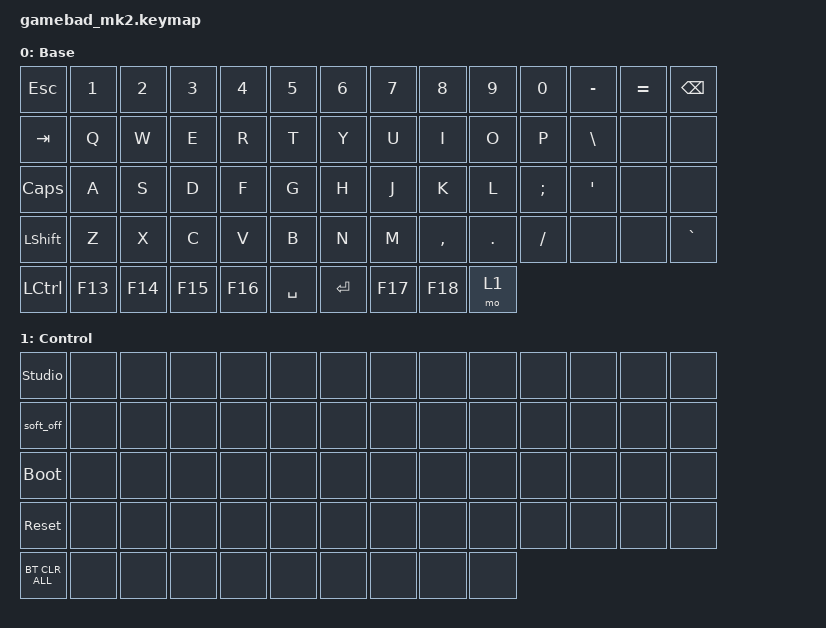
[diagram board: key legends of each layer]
#include <behaviors.dtsi>

#include <dt-bindings/zmk/keys.h>

#include <dt-bindings/zmk/outputs.h>
#include <dt-bindings/zmk/bt.h>

// Template:
// -------------------------------------------------------- //
//  xx  xx  xx  xx  xx  xx  xx  xx  xx  xx  xx  xx  xx  xx  //
//  xx  xx  xx  xx  xx  xx  xx  xx  xx  xx  xx  xx  xx  xx  //
//  xx  xx  xx  xx  xx  xx  xx  xx  xx  xx  xx  xx  xx  xx  //
//  xx  xx  xx  xx  xx  xx  xx  xx  xx  xx  xx  xx  xx  xx  //
//  xx  xx  xx  xx  xx  xx  xx  xx  xx  xx                  //
// -------------------------------------------------------- //
// bindings = <
//   &none  &none  &none  &none  &none  &none  &none  &none  &none  &none   &none  &none  &none  &none
//   &none  &none  &none  &none  &none  &none  &none  &none  &none  &none   &none  &none  &none  &none
//   &none  &none  &none  &none  &none  &none  &none  &none  &none  &none   &none  &none  &none  &none
//   &none  &none  &none  &none  &none  &none  &none  &none  &none  &none   &none  &none  &none  &none
//   &none  &none  &none  &none  &none  &none  &none  &none  &none  &none
// >;

/ {
  keymap0: keymap {
    compatible = "zmk,keymap";

    default_layer {
      display-name = "Base";
      // ---------------------------------------------------------------------------------- //
      //  ESC     1    2    3    4    5      6      7    8    9           0   -   =   BSPC  //
      //  TAB     Q    W    E    R    T      Y      U    I    O           P   \   xx  xx    //
      //  CLCK    A    S    D    F    G      H      J    K    L           ;   '   xx  xx    //
      //  LSHIFT  Z    X    C    V    B      N      M    ,    .           /   xx  xx  xx    //
      //  LCTRL   F13  F14  F15  F16  SPACE  ENTER  F17  F18  layer_ctrl  na  na  na  na    //
      // ---------------------------------------------------------------------------------- //
      bindings = <
        &kp ESC    &kp N1   &kp N2   &kp N3   &kp N4   &kp N5     &kp N6     &kp N7   &kp N8     &kp N9      &kp N0    &kp MINUS  &kp EQUAL  &kp BSPC
        &kp TAB    &kp Q    &kp W    &kp E    &kp R    &kp T      &kp Y      &kp U    &kp I      &kp O       &kp P     &kp BSLH   &none      &none
        &kp CLCK   &kp A    &kp S    &kp D    &kp F    &kp G      &kp H      &kp J    &kp K      &kp L       &kp SCLN  &kp SQT    &none      &none
        &kp LSHFT  &kp Z    &kp X    &kp C    &kp V    &kp B      &kp N      &kp M    &kp COMMA  &kp PERIOD  &kp FSLH  &none      &none      &kp GRAVE
        &kp LCTRL  &kp F13  &kp F14  &kp F15  &kp F16  &kp SPACE  &kp ENTER  &kp F17  &kp F18    &mo 1
      >;
    };

    control_layer {
      display-name = "Control";
      // ------------------------------------------------------------ //
      //  unlck   xx  xx  xx  xx  xx  xx  xx  xx  xx  xx  xx  xx  xx  //
      //  xx      xx  xx  xx  xx  xx  xx  xx  xx  xx  xx  xx  xx  xx  //
      //  xx      xx  xx  xx  xx  xx  xx  xx  xx  xx  xx  xx  xx  xx  //
      //  xx      xx  xx  xx  xx  xx  xx  xx  xx  xx  xx  xx  xx  xx  //
      //  bt_clr  xx  xx  xx  xx  xx  xx  xx  xx  xx  na  na  na  na  //
      // ------------------------------------------------------------ //
      bindings = <
        &studio_unlock  &none  &none  &none  &none  &none  &none  &none  &none  &none   &none  &none  &none  &none
        &soft_off       &none  &none  &none  &none  &none  &none  &none  &none  &none   &none  &none  &none  &none
        &bootloader     &none  &none  &none  &none  &none  &none  &none  &none  &none   &none  &none  &none  &none
        &sys_reset      &none  &none  &none  &none  &none  &none  &none  &none  &none   &none  &none  &none  &none
        &bt BT_CLR_ALL  &none  &none  &none  &none  &none  &none  &none  &none  &none
      >;
    };
  };
};
